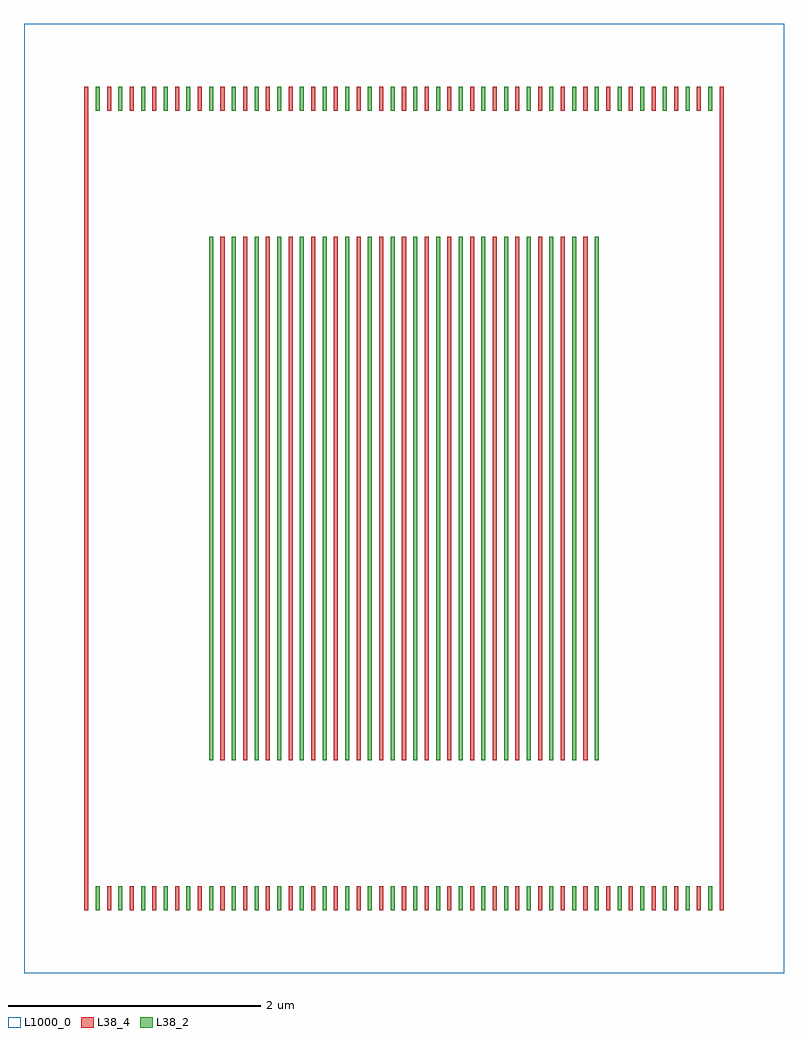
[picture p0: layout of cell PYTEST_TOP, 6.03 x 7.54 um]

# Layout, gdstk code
import gdstk
lib = gdstk.Library(unit=1e-6, precision=5e-10)
def R(c, l, rs):  # rectangles x0, y0, x1, y1
    for r in rs: c.add(gdstk.rectangle(r[:2], r[2:], *l))
def A(c, l, x, y, w, h, nx, ny, dx, dy):  # array of equal rectangles
    R(c, l, [(x+i*dx, y+j*dy, x+i*dx+w, y+j*dy+h) for i in range(nx) for j in range(ny)])
L38_2 = (38, 2)
L38_4 = (38, 4)
L1000_0 = (1000, 0)

pytest_top = lib.new_cell('PYTEST_TOP')
A(pytest_top, L38_2, 0.569, 0.5, 0.032, 0.193, 28, 2, 0.18, 6.343)
A(pytest_top, L38_2, 1.469, 1.693, 0.032, 4.15, 18, 1, 0.18, 0)
A(pytest_top, L38_4, 0.659, 0.5, 0.032, 0.193, 27, 2, 0.18, 6.343)
A(pytest_top, L38_4, 1.559, 1.693, 0.032, 4.15, 17, 1, 0.18, 0)
R(pytest_top, L38_4, [(0.479,0.5,0.511,7.036), (5.519,0.5,5.551,7.036)])
R(pytest_top, L1000_0, [(0,0,6.03,7.536)])

lib.write_gds('PYTEST_TOP.gds')
